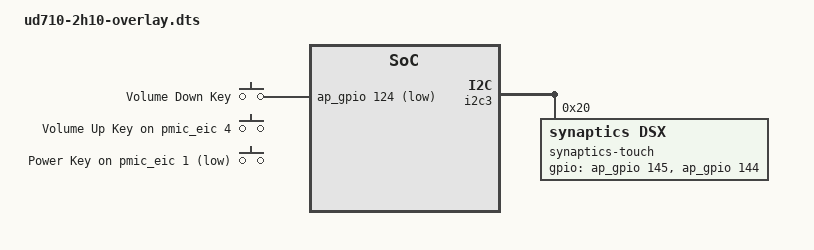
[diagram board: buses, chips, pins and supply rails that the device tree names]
/dts-v1/;
/plugin/;

#include <dt-bindings/input/input.h>
#include <dt-bindings/gpio/gpio.h>

/ {
	fragment {
		target-path = "/";
		__overlay__ {

			gpio-keys {
				compatible = "gpio-keys";

				key-volumedown {
					label = "Volume Down Key";
					linux,code = <KEY_VOLUMEDOWN>;
					gpios = <&ap_gpio 124 GPIO_ACTIVE_LOW>;
					debounce-interval = <2>;
					wakeup-source;
				};

				key-volumeup {
					label = "Volume Up Key";
					linux,code = <KEY_VOLUMEUP>;
					gpios = <&pmic_eic 4 GPIO_ACTIVE_HIGH>;
					debounce-interval = <2>;
					wakeup-source;
				};

				key-power {
					label = "Power Key";
					linux,code = <KEY_POWER>;
					gpios = <&pmic_eic 1 GPIO_ACTIVE_LOW>;
					debounce-interval = <2>;
					wakeup-source;
				};
			};
		};
	};
};

&i2c3 {
	status = "okay";

	synaptics-touch@20 {
		compatible = "synaptics,dsx";
		reg = <0x20>;
		gpios = <&ap_gpio 145 GPIO_ACTIVE_HIGH
			&ap_gpio 144 GPIO_ACTIVE_HIGH>;
	};
};
